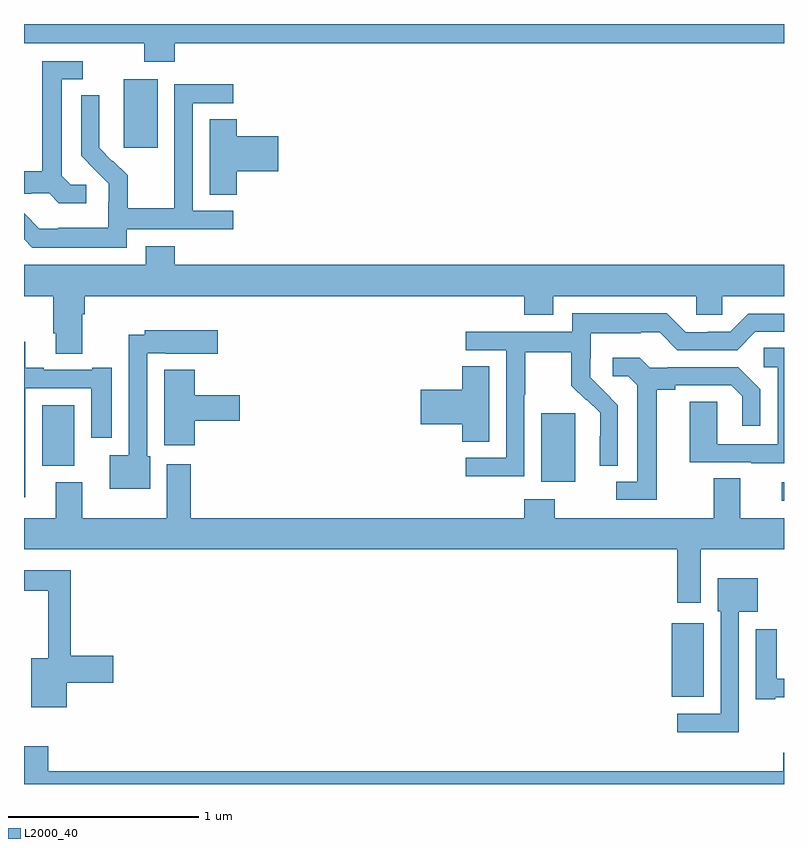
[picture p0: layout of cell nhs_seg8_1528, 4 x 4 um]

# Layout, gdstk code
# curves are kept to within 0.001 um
import gdstk
lib = gdstk.Library(unit=1e-6, precision=1e-09)
def R(c, l, rs):  # rectangles x0, y0, x1, y1
    for r in rs: c.add(gdstk.rectangle(r[:2], r[2:], *l))
def P(c, l, *ps):  # polygons
    for p in ps: c.add(gdstk.Polygon(p, *l))
L2000_40 = (2000, 40)

nhs_seg8_1528 = lib.new_cell('nhs_seg8_1528')
R(nhs_seg8_1528, L2000_40, [(210.41,1146.359,210.577,1146.745), (210.987,1147.392,211,1147.488), (209.723,1147.49,209.902,1147.851), (207.095,1147.574,207.265,1147.894), (207.524,1149.249,207.703,1149.61)])
P(nhs_seg8_1528, L2000_40, [(207.794,1149.8),(211,1149.8),(211,1149.9),(207,1149.9),(207,1149.8),(207.634,1149.8),(207.634,1149.701),(207.794,1149.701)],
  [(207.328,1149.054),(207.246,1149.054),(207.199,1149.101),(207.199,1149.609),(207.31,1149.609),(207.31,1149.705),(207.095,1149.705),(207.095,1149.125),(207,1149.125),(207,1149.006),(207.038,1149.006),(207.038,1149.009),(207.132,1149.009),(207.184,1148.957),(207.328,1148.957)],
  [(207.54,1148.82),(208.102,1148.82),(208.102,1148.916),(207.888,1148.916),(207.888,1149.483),(208.102,1149.483),(208.102,1149.582),(207.792,1149.582),(207.792,1149.152),(207.79,1149.152),(207.79,1148.929),(207.545,1148.929),(207.545,1149.103),(207.468,1149.18),(207.465,1149.177),(207.395,1149.248),(207.396,1149.524),(207.3,1149.524),(207.3,1149.206),(207.446,1149.058),(207.446,1148.961),(207.444,1148.961),(207.444,1148.827),(207.181,1148.827),(207.181,1148.823),(207.081,1148.823),(207,1148.904),(207,1148.766),(207.043,1148.723),(207.54,1148.723)],
  [(208.121,1149.125),(208.339,1149.125),(208.339,1149.308),(208.121,1149.308),(208.121,1149.398),(207.977,1149.398),(207.977,1149.001),(208.121,1149.001)],
  [(207.794,1148.731),(207.641,1148.731),(207.641,1148.632),(207,1148.632),(207,1148.468),(207.155,1148.468),(207.155,1148.272),(207.167,1148.272),(207.167,1148.164),(207.307,1148.164),(207.307,1148.372),(207.32,1148.372),(207.32,1148.468),(209.633,1148.468),(209.633,1148.369),(209.785,1148.369),(209.785,1148.468),(210.537,1148.468),(210.537,1148.37),(210.675,1148.37),(210.675,1148.468),(211,1148.468),(211,1148.632),(207.794,1148.632)],
  [(209.634,1147.948),(209.637,1147.948),(209.637,1148.172),(209.881,1148.172),(209.881,1147.997),(209.958,1147.92),(209.961,1147.923),(210.032,1147.853),(210.032,1147.73),(210.03,1147.73),(210.03,1147.576),(210.126,1147.576),(210.126,1147.894),(209.98,1148.042),(209.98,1148.139),(209.982,1148.139),(209.982,1148.273),(210.245,1148.273),(210.245,1148.277),(210.345,1148.277),(210.438,1148.184),(210.753,1148.184),(210.849,1148.28),(211,1148.28),(211,1148.376),(210.813,1148.376),(210.717,1148.28),(210.599,1148.28),(210.599,1148.277),(210.483,1148.277),(210.383,1148.377),(209.886,1148.377),(209.886,1148.28),(209.325,1148.28),(209.325,1148.184),(209.538,1148.184),(209.538,1147.617),(209.325,1147.617),(209.325,1147.519),(209.634,1147.519)],
  [(207.664,1147.626),(207.648,1147.626),(207.648,1148.166),(207.745,1148.166),(207.745,1148.165),(208.021,1148.165),(208.021,1148.287),(207.636,1148.287),(207.636,1148.264),(207.552,1148.264),(207.552,1147.63),(207.452,1147.63),(207.452,1147.454),(207.664,1147.454)],
  [(207.006,1147.983),(207.353,1147.983),(207.353,1147.722),(207.463,1147.722),(207.463,1148.092),(207.359,1148.092),(207.359,1148.079),(207.103,1148.079),(207.103,1148.092),(207.007,1148.092),(207.007,1148.227),(207,1148.227),(207,1147.41),(207.006,1147.41)],
  [(211,1148.195),(210.894,1148.195),(210.894,1148.094),(210.966,1148.094),(210.966,1147.689),(210.648,1147.689),(210.648,1147.913),(210.503,1147.913),(210.503,1147.593),(210.827,1147.593),(210.827,1147.589),(211,1147.589)],
  [(210.331,1147.976),(210.427,1147.976),(210.427,1147.998),(210.722,1147.998),(210.779,1147.941),(210.779,1147.785),(210.876,1147.785),(210.876,1147.978),(210.76,1148.094),(210.388,1148.094),(210.388,1148.091),(210.294,1148.091),(210.242,1148.143),(210.099,1148.143),(210.099,1148.046),(210.18,1148.046),(210.227,1147.999),(210.227,1147.491),(210.117,1147.491),(210.117,1147.395),(210.331,1147.395)],
  [(209.449,1148.099),(209.306,1148.099),(209.306,1147.976),(209.088,1147.976),(209.088,1147.793),(209.306,1147.793),(209.306,1147.702),(209.449,1147.702)],
  [(207.899,1147.811),(208.135,1147.811),(208.135,1147.945),(207.899,1147.945),(207.899,1148.08),(207.737,1148.08),(207.737,1147.683),(207.899,1147.683)],
  [(210.562,1147.136),(211,1147.136),(211,1147.3),(210.769,1147.3),(210.769,1147.508),(210.629,1147.508),(210.629,1147.3),(209.793,1147.3),(209.793,1147.399),(209.633,1147.399),(209.633,1147.3),(207.878,1147.3),(207.878,1147.582),(207.752,1147.582),(207.752,1147.3),(207.307,1147.3),(207.307,1147.489),(207.167,1147.489),(207.167,1147.3),(207,1147.3),(207,1147.136),(210.437,1147.136),(210.437,1146.855),(210.562,1146.855)],
  [(207.226,1146.433),(207.469,1146.433),(207.469,1146.575),(207.245,1146.575),(207.245,1147.026),(207,1147.026),(207,1146.918),(207.128,1146.918),(207.128,1146.562),(207.038,1146.562),(207.038,1146.305),(207.226,1146.305)],
  [(210.762,1146.806),(210.862,1146.806),(210.862,1146.982),(210.65,1146.982),(210.65,1146.81),(210.666,1146.81),(210.666,1146.27),(210.438,1146.27),(210.438,1146.173),(210.762,1146.173)],
  [(210.955,1146.357),(211,1146.357),(211,1146.453),(210.961,1146.453),(210.961,1146.715),(210.851,1146.715),(210.851,1146.345),(210.955,1146.345)],
  [(211,1146.064),(210.995,1146.064),(210.995,1145.968),(207.128,1145.968),(207.128,1146.1),(207,1146.1),(207,1145.9),(211,1145.9)])

lib.write_gds('nhs_seg8_1528.gds')
